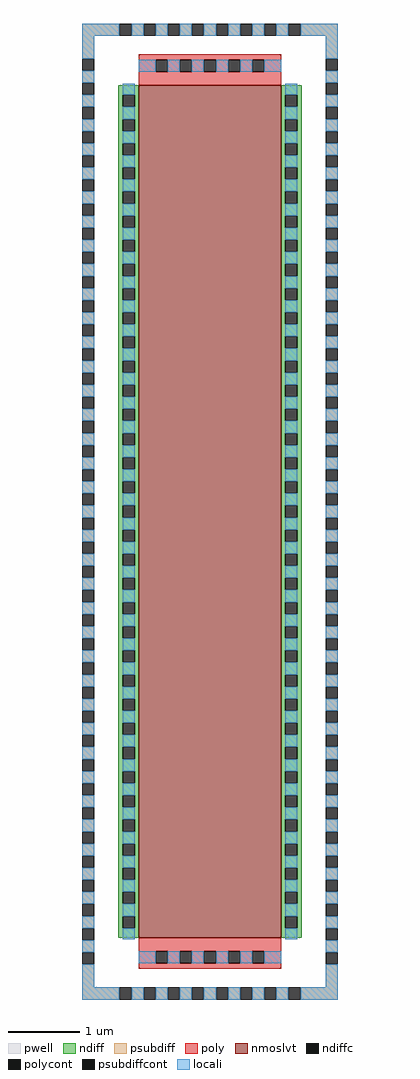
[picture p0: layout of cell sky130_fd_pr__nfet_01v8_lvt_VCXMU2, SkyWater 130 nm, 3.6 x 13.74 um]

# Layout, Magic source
magic
tech sky130A
magscale 1 2
<< pwell >>
rect -360 1340 360 1374
rect -360 -1340 -326 1340
rect 326 -1340 360 1340
rect -360 -1374 360 -1340
<< nmoslvt >>
rect -200 -1200 200 1200
<< ndiff >>
rect -258 1173 -200 1200
rect -258 1139 -246 1173
rect -212 1139 -200 1173
rect -258 1105 -200 1139
rect -258 1071 -246 1105
rect -212 1071 -200 1105
rect -258 1037 -200 1071
rect -258 1003 -246 1037
rect -212 1003 -200 1037
rect -258 969 -200 1003
rect -258 935 -246 969
rect -212 935 -200 969
rect -258 901 -200 935
rect -258 867 -246 901
rect -212 867 -200 901
rect -258 833 -200 867
rect -258 799 -246 833
rect -212 799 -200 833
rect -258 765 -200 799
rect -258 731 -246 765
rect -212 731 -200 765
rect -258 697 -200 731
rect -258 663 -246 697
rect -212 663 -200 697
rect -258 629 -200 663
rect -258 595 -246 629
rect -212 595 -200 629
rect -258 561 -200 595
rect -258 527 -246 561
rect -212 527 -200 561
rect -258 493 -200 527
rect -258 459 -246 493
rect -212 459 -200 493
rect -258 425 -200 459
rect -258 391 -246 425
rect -212 391 -200 425
rect -258 357 -200 391
rect -258 323 -246 357
rect -212 323 -200 357
rect -258 289 -200 323
rect -258 255 -246 289
rect -212 255 -200 289
rect -258 221 -200 255
rect -258 187 -246 221
rect -212 187 -200 221
rect -258 153 -200 187
rect -258 119 -246 153
rect -212 119 -200 153
rect -258 85 -200 119
rect -258 51 -246 85
rect -212 51 -200 85
rect -258 17 -200 51
rect -258 -17 -246 17
rect -212 -17 -200 17
rect -258 -51 -200 -17
rect -258 -85 -246 -51
rect -212 -85 -200 -51
rect -258 -119 -200 -85
rect -258 -153 -246 -119
rect -212 -153 -200 -119
rect -258 -187 -200 -153
rect -258 -221 -246 -187
rect -212 -221 -200 -187
rect -258 -255 -200 -221
rect -258 -289 -246 -255
rect -212 -289 -200 -255
rect -258 -323 -200 -289
rect -258 -357 -246 -323
rect -212 -357 -200 -323
rect -258 -391 -200 -357
rect -258 -425 -246 -391
rect -212 -425 -200 -391
rect -258 -459 -200 -425
rect -258 -493 -246 -459
rect -212 -493 -200 -459
rect -258 -527 -200 -493
rect -258 -561 -246 -527
rect -212 -561 -200 -527
rect -258 -595 -200 -561
rect -258 -629 -246 -595
rect -212 -629 -200 -595
rect -258 -663 -200 -629
rect -258 -697 -246 -663
rect -212 -697 -200 -663
rect -258 -731 -200 -697
rect -258 -765 -246 -731
rect -212 -765 -200 -731
rect -258 -799 -200 -765
rect -258 -833 -246 -799
rect -212 -833 -200 -799
rect -258 -867 -200 -833
rect -258 -901 -246 -867
rect -212 -901 -200 -867
rect -258 -935 -200 -901
rect -258 -969 -246 -935
rect -212 -969 -200 -935
rect -258 -1003 -200 -969
rect -258 -1037 -246 -1003
rect -212 -1037 -200 -1003
rect -258 -1071 -200 -1037
rect -258 -1105 -246 -1071
rect -212 -1105 -200 -1071
rect -258 -1139 -200 -1105
rect -258 -1173 -246 -1139
rect -212 -1173 -200 -1139
rect -258 -1200 -200 -1173
rect 200 1173 258 1200
rect 200 1139 212 1173
rect 246 1139 258 1173
rect 200 1105 258 1139
rect 200 1071 212 1105
rect 246 1071 258 1105
rect 200 1037 258 1071
rect 200 1003 212 1037
rect 246 1003 258 1037
rect 200 969 258 1003
rect 200 935 212 969
rect 246 935 258 969
rect 200 901 258 935
rect 200 867 212 901
rect 246 867 258 901
rect 200 833 258 867
rect 200 799 212 833
rect 246 799 258 833
rect 200 765 258 799
rect 200 731 212 765
rect 246 731 258 765
rect 200 697 258 731
rect 200 663 212 697
rect 246 663 258 697
rect 200 629 258 663
rect 200 595 212 629
rect 246 595 258 629
rect 200 561 258 595
rect 200 527 212 561
rect 246 527 258 561
rect 200 493 258 527
rect 200 459 212 493
rect 246 459 258 493
rect 200 425 258 459
rect 200 391 212 425
rect 246 391 258 425
rect 200 357 258 391
rect 200 323 212 357
rect 246 323 258 357
rect 200 289 258 323
rect 200 255 212 289
rect 246 255 258 289
rect 200 221 258 255
rect 200 187 212 221
rect 246 187 258 221
rect 200 153 258 187
rect 200 119 212 153
rect 246 119 258 153
rect 200 85 258 119
rect 200 51 212 85
rect 246 51 258 85
rect 200 17 258 51
rect 200 -17 212 17
rect 246 -17 258 17
rect 200 -51 258 -17
rect 200 -85 212 -51
rect 246 -85 258 -51
rect 200 -119 258 -85
rect 200 -153 212 -119
rect 246 -153 258 -119
rect 200 -187 258 -153
rect 200 -221 212 -187
rect 246 -221 258 -187
rect 200 -255 258 -221
rect 200 -289 212 -255
rect 246 -289 258 -255
rect 200 -323 258 -289
rect 200 -357 212 -323
rect 246 -357 258 -323
rect 200 -391 258 -357
rect 200 -425 212 -391
rect 246 -425 258 -391
rect 200 -459 258 -425
rect 200 -493 212 -459
rect 246 -493 258 -459
rect 200 -527 258 -493
rect 200 -561 212 -527
rect 246 -561 258 -527
rect 200 -595 258 -561
rect 200 -629 212 -595
rect 246 -629 258 -595
rect 200 -663 258 -629
rect 200 -697 212 -663
rect 246 -697 258 -663
rect 200 -731 258 -697
rect 200 -765 212 -731
rect 246 -765 258 -731
rect 200 -799 258 -765
rect 200 -833 212 -799
rect 246 -833 258 -799
rect 200 -867 258 -833
rect 200 -901 212 -867
rect 246 -901 258 -867
rect 200 -935 258 -901
rect 200 -969 212 -935
rect 246 -969 258 -935
rect 200 -1003 258 -969
rect 200 -1037 212 -1003
rect 246 -1037 258 -1003
rect 200 -1071 258 -1037
rect 200 -1105 212 -1071
rect 246 -1105 258 -1071
rect 200 -1139 258 -1105
rect 200 -1173 212 -1139
rect 246 -1173 258 -1139
rect 200 -1200 258 -1173
<< ndiffc >>
rect -246 1139 -212 1173
rect -246 1071 -212 1105
rect -246 1003 -212 1037
rect -246 935 -212 969
rect -246 867 -212 901
rect -246 799 -212 833
rect -246 731 -212 765
rect -246 663 -212 697
rect -246 595 -212 629
rect -246 527 -212 561
rect -246 459 -212 493
rect -246 391 -212 425
rect -246 323 -212 357
rect -246 255 -212 289
rect -246 187 -212 221
rect -246 119 -212 153
rect -246 51 -212 85
rect -246 -17 -212 17
rect -246 -85 -212 -51
rect -246 -153 -212 -119
rect -246 -221 -212 -187
rect -246 -289 -212 -255
rect -246 -357 -212 -323
rect -246 -425 -212 -391
rect -246 -493 -212 -459
rect -246 -561 -212 -527
rect -246 -629 -212 -595
rect -246 -697 -212 -663
rect -246 -765 -212 -731
rect -246 -833 -212 -799
rect -246 -901 -212 -867
rect -246 -969 -212 -935
rect -246 -1037 -212 -1003
rect -246 -1105 -212 -1071
rect -246 -1173 -212 -1139
rect 212 1139 246 1173
rect 212 1071 246 1105
rect 212 1003 246 1037
rect 212 935 246 969
rect 212 867 246 901
rect 212 799 246 833
rect 212 731 246 765
rect 212 663 246 697
rect 212 595 246 629
rect 212 527 246 561
rect 212 459 246 493
rect 212 391 246 425
rect 212 323 246 357
rect 212 255 246 289
rect 212 187 246 221
rect 212 119 246 153
rect 212 51 246 85
rect 212 -17 246 17
rect 212 -85 246 -51
rect 212 -153 246 -119
rect 212 -221 246 -187
rect 212 -289 246 -255
rect 212 -357 246 -323
rect 212 -425 246 -391
rect 212 -493 246 -459
rect 212 -561 246 -527
rect 212 -629 246 -595
rect 212 -697 246 -663
rect 212 -765 246 -731
rect 212 -833 246 -799
rect 212 -901 246 -867
rect 212 -969 246 -935
rect 212 -1037 246 -1003
rect 212 -1105 246 -1071
rect 212 -1173 246 -1139
<< psubdiff >>
rect -360 1340 -255 1374
rect -221 1340 -187 1374
rect -153 1340 -119 1374
rect -85 1340 -51 1374
rect -17 1340 17 1374
rect 51 1340 85 1374
rect 119 1340 153 1374
rect 187 1340 221 1374
rect 255 1340 360 1374
rect -360 1275 -326 1340
rect -360 1207 -326 1241
rect 326 1275 360 1340
rect 326 1207 360 1241
rect -360 1139 -326 1173
rect -360 1071 -326 1105
rect -360 1003 -326 1037
rect -360 935 -326 969
rect -360 867 -326 901
rect -360 799 -326 833
rect -360 731 -326 765
rect -360 663 -326 697
rect -360 595 -326 629
rect -360 527 -326 561
rect -360 459 -326 493
rect -360 391 -326 425
rect -360 323 -326 357
rect -360 255 -326 289
rect -360 187 -326 221
rect -360 119 -326 153
rect -360 51 -326 85
rect -360 -17 -326 17
rect -360 -85 -326 -51
rect -360 -153 -326 -119
rect -360 -221 -326 -187
rect -360 -289 -326 -255
rect -360 -357 -326 -323
rect -360 -425 -326 -391
rect -360 -493 -326 -459
rect -360 -561 -326 -527
rect -360 -629 -326 -595
rect -360 -697 -326 -663
rect -360 -765 -326 -731
rect -360 -833 -326 -799
rect -360 -901 -326 -867
rect -360 -969 -326 -935
rect -360 -1037 -326 -1003
rect -360 -1105 -326 -1071
rect -360 -1173 -326 -1139
rect 326 1139 360 1173
rect 326 1071 360 1105
rect 326 1003 360 1037
rect 326 935 360 969
rect 326 867 360 901
rect 326 799 360 833
rect 326 731 360 765
rect 326 663 360 697
rect 326 595 360 629
rect 326 527 360 561
rect 326 459 360 493
rect 326 391 360 425
rect 326 323 360 357
rect 326 255 360 289
rect 326 187 360 221
rect 326 119 360 153
rect 326 51 360 85
rect 326 -17 360 17
rect 326 -85 360 -51
rect 326 -153 360 -119
rect 326 -221 360 -187
rect 326 -289 360 -255
rect 326 -357 360 -323
rect 326 -425 360 -391
rect 326 -493 360 -459
rect 326 -561 360 -527
rect 326 -629 360 -595
rect 326 -697 360 -663
rect 326 -765 360 -731
rect 326 -833 360 -799
rect 326 -901 360 -867
rect 326 -969 360 -935
rect 326 -1037 360 -1003
rect 326 -1105 360 -1071
rect 326 -1173 360 -1139
rect -360 -1241 -326 -1207
rect -360 -1340 -326 -1275
rect 326 -1241 360 -1207
rect 326 -1340 360 -1275
rect -360 -1374 -255 -1340
rect -221 -1374 -187 -1340
rect -153 -1374 -119 -1340
rect -85 -1374 -51 -1340
rect -17 -1374 17 -1340
rect 51 -1374 85 -1340
rect 119 -1374 153 -1340
rect 187 -1374 221 -1340
rect 255 -1374 360 -1340
<< psubdiffcont >>
rect -255 1340 -221 1374
rect -187 1340 -153 1374
rect -119 1340 -85 1374
rect -51 1340 -17 1374
rect 17 1340 51 1374
rect 85 1340 119 1374
rect 153 1340 187 1374
rect 221 1340 255 1374
rect -360 1241 -326 1275
rect -360 1173 -326 1207
rect 326 1241 360 1275
rect -360 1105 -326 1139
rect -360 1037 -326 1071
rect -360 969 -326 1003
rect -360 901 -326 935
rect -360 833 -326 867
rect -360 765 -326 799
rect -360 697 -326 731
rect -360 629 -326 663
rect -360 561 -326 595
rect -360 493 -326 527
rect -360 425 -326 459
rect -360 357 -326 391
rect -360 289 -326 323
rect -360 221 -326 255
rect -360 153 -326 187
rect -360 85 -326 119
rect -360 17 -326 51
rect -360 -51 -326 -17
rect -360 -119 -326 -85
rect -360 -187 -326 -153
rect -360 -255 -326 -221
rect -360 -323 -326 -289
rect -360 -391 -326 -357
rect -360 -459 -326 -425
rect -360 -527 -326 -493
rect -360 -595 -326 -561
rect -360 -663 -326 -629
rect -360 -731 -326 -697
rect -360 -799 -326 -765
rect -360 -867 -326 -833
rect -360 -935 -326 -901
rect -360 -1003 -326 -969
rect -360 -1071 -326 -1037
rect -360 -1139 -326 -1105
rect -360 -1207 -326 -1173
rect 326 1173 360 1207
rect 326 1105 360 1139
rect 326 1037 360 1071
rect 326 969 360 1003
rect 326 901 360 935
rect 326 833 360 867
rect 326 765 360 799
rect 326 697 360 731
rect 326 629 360 663
rect 326 561 360 595
rect 326 493 360 527
rect 326 425 360 459
rect 326 357 360 391
rect 326 289 360 323
rect 326 221 360 255
rect 326 153 360 187
rect 326 85 360 119
rect 326 17 360 51
rect 326 -51 360 -17
rect 326 -119 360 -85
rect 326 -187 360 -153
rect 326 -255 360 -221
rect 326 -323 360 -289
rect 326 -391 360 -357
rect 326 -459 360 -425
rect 326 -527 360 -493
rect 326 -595 360 -561
rect 326 -663 360 -629
rect 326 -731 360 -697
rect 326 -799 360 -765
rect 326 -867 360 -833
rect 326 -935 360 -901
rect 326 -1003 360 -969
rect 326 -1071 360 -1037
rect 326 -1139 360 -1105
rect -360 -1275 -326 -1241
rect 326 -1207 360 -1173
rect 326 -1275 360 -1241
rect -255 -1374 -221 -1340
rect -187 -1374 -153 -1340
rect -119 -1374 -85 -1340
rect -51 -1374 -17 -1340
rect 17 -1374 51 -1340
rect 85 -1374 119 -1340
rect 153 -1374 187 -1340
rect 221 -1374 255 -1340
<< poly >>
rect -200 1272 200 1288
rect -200 1238 -153 1272
rect -119 1238 -85 1272
rect -51 1238 -17 1272
rect 17 1238 51 1272
rect 85 1238 119 1272
rect 153 1238 200 1272
rect -200 1200 200 1238
rect -200 -1238 200 -1200
rect -200 -1272 -153 -1238
rect -119 -1272 -85 -1238
rect -51 -1272 -17 -1238
rect 17 -1272 51 -1238
rect 85 -1272 119 -1238
rect 153 -1272 200 -1238
rect -200 -1288 200 -1272
<< polycont >>
rect -153 1238 -119 1272
rect -85 1238 -51 1272
rect -17 1238 17 1272
rect 51 1238 85 1272
rect 119 1238 153 1272
rect -153 -1272 -119 -1238
rect -85 -1272 -51 -1238
rect -17 -1272 17 -1238
rect 51 -1272 85 -1238
rect 119 -1272 153 -1238
<< locali >>
rect -360 1340 -255 1374
rect -221 1340 -187 1374
rect -153 1340 -119 1374
rect -85 1340 -51 1374
rect -17 1340 17 1374
rect 51 1340 85 1374
rect 119 1340 153 1374
rect 187 1340 221 1374
rect 255 1340 360 1374
rect -360 1275 -326 1340
rect 326 1275 360 1340
rect -360 1207 -326 1241
rect -200 1238 -153 1272
rect -119 1238 -85 1272
rect -51 1238 -17 1272
rect 17 1238 51 1272
rect 85 1238 119 1272
rect 153 1238 200 1272
rect 326 1207 360 1241
rect -360 1139 -326 1173
rect -360 1071 -326 1105
rect -360 1003 -326 1037
rect -360 935 -326 969
rect -360 867 -326 901
rect -360 799 -326 833
rect -360 731 -326 765
rect -360 663 -326 697
rect -360 595 -326 629
rect -360 527 -326 561
rect -360 459 -326 493
rect -360 391 -326 425
rect -360 323 -326 357
rect -360 255 -326 289
rect -360 187 -326 221
rect -360 119 -326 153
rect -360 51 -326 85
rect -360 -17 -326 17
rect -360 -85 -326 -51
rect -360 -153 -326 -119
rect -360 -221 -326 -187
rect -360 -289 -326 -255
rect -360 -357 -326 -323
rect -360 -425 -326 -391
rect -360 -493 -326 -459
rect -360 -561 -326 -527
rect -360 -629 -326 -595
rect -360 -697 -326 -663
rect -360 -765 -326 -731
rect -360 -833 -326 -799
rect -360 -901 -326 -867
rect -360 -969 -326 -935
rect -360 -1037 -326 -1003
rect -360 -1105 -326 -1071
rect -360 -1173 -326 -1139
rect -246 1173 -212 1204
rect -246 1105 -212 1139
rect -246 1037 -212 1071
rect -246 969 -212 1003
rect -246 901 -212 935
rect -246 833 -212 867
rect -246 765 -212 799
rect -246 697 -212 731
rect -246 629 -212 663
rect -246 561 -212 595
rect -246 493 -212 527
rect -246 425 -212 459
rect -246 357 -212 391
rect -246 289 -212 323
rect -246 221 -212 255
rect -246 153 -212 187
rect -246 85 -212 119
rect -246 17 -212 51
rect -246 -51 -212 -17
rect -246 -119 -212 -85
rect -246 -187 -212 -153
rect -246 -255 -212 -221
rect -246 -323 -212 -289
rect -246 -391 -212 -357
rect -246 -459 -212 -425
rect -246 -527 -212 -493
rect -246 -595 -212 -561
rect -246 -663 -212 -629
rect -246 -731 -212 -697
rect -246 -799 -212 -765
rect -246 -867 -212 -833
rect -246 -935 -212 -901
rect -246 -1003 -212 -969
rect -246 -1071 -212 -1037
rect -246 -1139 -212 -1105
rect -246 -1204 -212 -1173
rect 212 1173 246 1204
rect 212 1105 246 1139
rect 212 1037 246 1071
rect 212 969 246 1003
rect 212 901 246 935
rect 212 833 246 867
rect 212 765 246 799
rect 212 697 246 731
rect 212 629 246 663
rect 212 561 246 595
rect 212 493 246 527
rect 212 425 246 459
rect 212 357 246 391
rect 212 289 246 323
rect 212 221 246 255
rect 212 153 246 187
rect 212 85 246 119
rect 212 17 246 51
rect 212 -51 246 -17
rect 212 -119 246 -85
rect 212 -187 246 -153
rect 212 -255 246 -221
rect 212 -323 246 -289
rect 212 -391 246 -357
rect 212 -459 246 -425
rect 212 -527 246 -493
rect 212 -595 246 -561
rect 212 -663 246 -629
rect 212 -731 246 -697
rect 212 -799 246 -765
rect 212 -867 246 -833
rect 212 -935 246 -901
rect 212 -1003 246 -969
rect 212 -1071 246 -1037
rect 212 -1139 246 -1105
rect 212 -1204 246 -1173
rect 326 1139 360 1173
rect 326 1071 360 1105
rect 326 1003 360 1037
rect 326 935 360 969
rect 326 867 360 901
rect 326 799 360 833
rect 326 731 360 765
rect 326 663 360 697
rect 326 595 360 629
rect 326 527 360 561
rect 326 459 360 493
rect 326 391 360 425
rect 326 323 360 357
rect 326 255 360 289
rect 326 187 360 221
rect 326 119 360 153
rect 326 51 360 85
rect 326 -17 360 17
rect 326 -85 360 -51
rect 326 -153 360 -119
rect 326 -221 360 -187
rect 326 -289 360 -255
rect 326 -357 360 -323
rect 326 -425 360 -391
rect 326 -493 360 -459
rect 326 -561 360 -527
rect 326 -629 360 -595
rect 326 -697 360 -663
rect 326 -765 360 -731
rect 326 -833 360 -799
rect 326 -901 360 -867
rect 326 -969 360 -935
rect 326 -1037 360 -1003
rect 326 -1105 360 -1071
rect 326 -1173 360 -1139
rect -360 -1241 -326 -1207
rect -200 -1272 -153 -1238
rect -119 -1272 -85 -1238
rect -51 -1272 -17 -1238
rect 17 -1272 51 -1238
rect 85 -1272 119 -1238
rect 153 -1272 200 -1238
rect 326 -1241 360 -1207
rect -360 -1340 -326 -1275
rect 326 -1340 360 -1275
rect -360 -1374 -255 -1340
rect -221 -1374 -187 -1340
rect -153 -1374 -119 -1340
rect -85 -1374 -51 -1340
rect -17 -1374 17 -1340
rect 51 -1374 85 -1340
rect 119 -1374 153 -1340
rect 187 -1374 221 -1340
rect 255 -1374 360 -1340
<< properties >>
string FIXED_BBOX -342 -1356 342 1356
<< end >>
